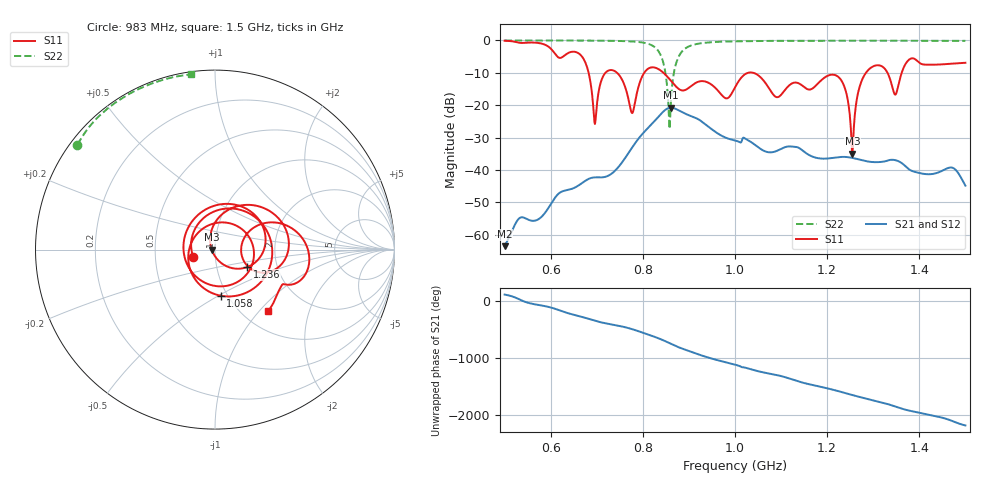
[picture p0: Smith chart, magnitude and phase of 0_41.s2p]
! TOUCHSTONE file generated by CST MICROWAVE STUDIO
! Date and time: Sat Oct 24 10:48:24 2020
! Project name: Scenario_1_Planar_Body_Tissue_Center.cst
! Parameters = {hfat=3; hmuscle=50; hskin=1.5; hgap=25; Wtissue=700; Ltissue=700; L_HA=400; MT=2.54; Rad_Dielectric=30; Rad_Lower=7.3; Rad_Upper=30; a_HA=580; a_WG=246; b_HA=500; b_WG=121; c_HA=0; c_WG=187; d_feed=85; dx1=865.8; h_feed=15; h_lower=18; h_upper=40}
! Header version: 2018
! Port assignment regex: !\s*Touchstone port\s*([0-9]+)\s*=\s*(CST MWS port|CST DS port)\s*([0-9]+|Zmin|Zmax)\s*\(\"(.*)\"\)(\s*mode\s*([0-9]+))?.*
! Touchstone port assignment:
! Touchstone port 1 = CST MWS port 1 ("")
! Touchstone port 2 = CST MWS port 2 ("")
# GHz S DB R 50
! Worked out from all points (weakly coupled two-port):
!   1003 points, 500 MHz to 1.5 GHz, reference 50 ohm
!   highest |S21| = -20.75 dB at 861 MHz (marker M1); lowest = -63.5 dB at 500 MHz (marker M2)
!   lowest |S11| = -35.0 dB at 1.255 GHz (marker M3), VSWR 1.04, Z = 48.3 - j0.113 ohm
!   |S11| at or under -10 dB: 744.1 MHz to 803 MHz (58.87 MHz wide, 7.61 % of centre); 844.8 MHz to 1.028 GHz (183.5 MHz wide, 19.6 % of centre); 1.04 GHz to 1.284 GHz (244.3 MHz wide, 21 % of centre) (the widest 3 of 5)
!   |S22| runs from -27.3 to 0.0 dB; largest |S21 - S12| = 0.00033
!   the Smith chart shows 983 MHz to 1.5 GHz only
!   S11 on the Smith chart (normalised r, x): 983 MHz: 0.78, -0.06; 1.058 GHz: 0.93, -0.51; 1.236 GHz: 1.40, -0.28; 1.5 GHz: 1.31, -1.12
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0.5  -0.10 -122.1  -63.52 107.3  -63.52 107.3  -0.01 151.1
0.583  -1.08 -168.2  -54.04 -88.4  -54.04 -88.4  -0.02 145.4
0.667  -4.81 121.6  -44.14 77.6  -44.14 77.6  -0.04 138.4
0.696  -25.80 -42.7  -42.28 7.8  -42.28 7.8  -0.06 135.3
0.723  -9.47 168.9  -41.89 -42.0  -41.89 -42.0  -0.10 131.9
0.777  -22.44 -36.8  -33.02 -139.1  -33.02 -139.1  -0.32 121.2
0.806  -9.42 161.3  -27.79 142.6  -27.79 142.6  -0.83 109.6
0.834  -8.86 70.6  -23.54 61.1  -23.54 61.1  -3.35 83.7
0.861  -12.46 -19.7  -20.75 -36.5  -20.75 -36.5  -18.71 -122.3
0.887  -15.45 -133.0  -22.28 -123.9  -22.28 -123.9  -3.10 179.6
0.942  -13.04 6.5  -26.62 84.1  -26.62 84.1  -0.63 150.9
0.983  -17.88 -161.4  -30.20 -4.7  -30.20 -4.7  -0.32 142.6
1  -14.49 108.7  -30.88 -40.0  -30.89 -40.0  -0.27 140.2
1.03  -9.94 0.7  -30.96 -110.6  -30.96 -110.6  -0.20 136.5
1.058  -11.74 -83.0  -33.72 -169.8  -33.72 -169.8  -0.16 133.6
1.167  -14.94 166.6  -35.80 -34.2  -35.80 -34.2  -0.10 124.2
1.236  -13.79 -28.4  -35.95 -170.0  -35.95 -170.0  -0.08 118.9
1.255  -35.01 -176.2  -36.28 147.1  -36.28 147.1  -0.08 117.5
1.283  -10.24 54.1  -37.24 88.6  -37.24 88.6  -0.08 115.3
1.334  -10.96 -26.8  -36.97 -16.1  -36.97 -16.1  -0.09 111.5
1.365  -8.73 24.4  -38.22 -97.7  -38.22 -97.7  -0.09 109.1
1.5  -6.90 -48.8  -44.85 -24.5  -44.85 -24.5  -0.13 97.9
